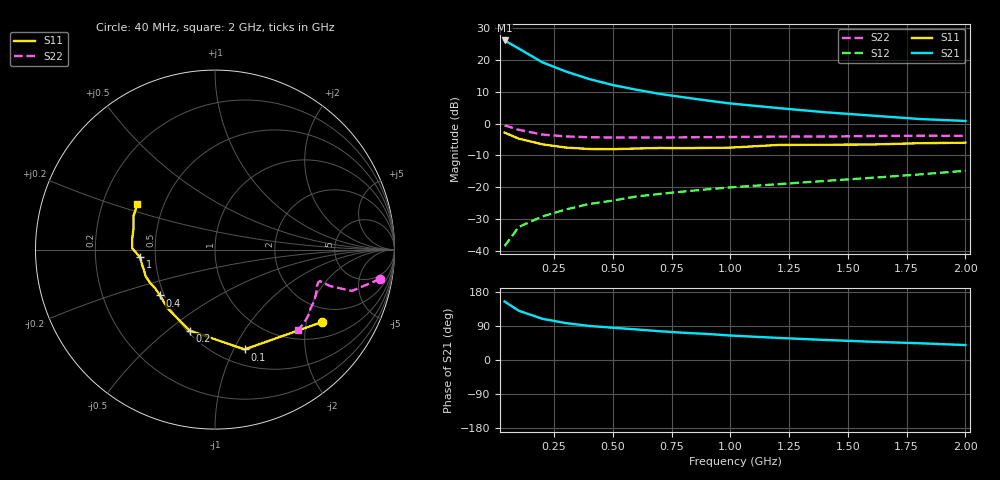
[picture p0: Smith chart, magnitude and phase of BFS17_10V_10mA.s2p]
! Filename:  BFS17H.S2P  Version:  2.0
! Philips part #: BFS17  Date: Jun 1990
! Bias condition: Vce=10V, Ic=10mA
#  MHz  S  MA  R  50
! Freq  S11  S21  S12  S22  !GUM [dB]
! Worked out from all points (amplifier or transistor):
!   16 points, 40 MHz to 2 GHz, reference 50 ohm
!   highest |S21| = 26.0 dB at 40 MHz (marker M1)
!   |S21| within 3 dB of that: start of sweep to 110.9 MHz
!   unconditionally stable (mu >= 1): 458 MHz to 1.695 GHz
!   at 200 MHz: K = 0.71, MSG = 24.2 dB, |S12| = -29.1 dB
!   at 800 MHz: K = 1.09, MAG = 12.9 dB, |S12| = -21.3 dB
!   at 2 GHz: K = 0.89, MSG = 7.8 dB, |S12| = -14.8 dB
!   S11 on the Smith chart (normalised r, x): 40 MHz: 1.48, -2.48; 100 MHz: 0.66, -1.10; 200 MHz: 0.52, -0.60; 400 MHz: 0.47, -0.29; 1 GHz: 0.41, -0.04; 2 GHz: 0.35, +0.24
40  0.72 -34.1  19.99 154.3  0.012 72.4  0.936 -10.0
100  0.58 -73.5  14.93 130.0  0.024 62.0  0.797 -16.8
200  0.473 -107.4  9.11 108.8  0.035 57.7  0.672 -17.6
300  0.42 -129.0  6.532 97.4  0.045 59.2  0.627 -16.9
400  0.399 -140.2  4.97 89.9  0.055 61.4  0.61 -16.7
500  0.397 -146.9  4.007 85.2  0.062 63.4  0.604 -17.5
600  0.406 -152.8  3.386 80.7  0.072 63.9  0.603 -18.4
700  0.414 -158.8  2.909 75.9  0.079 64.0  0.604 -19.9
800  0.412 -164.3  2.577 71.9  0.086 65.8  0.608 -21.0
900  0.415 -168.3  2.295 68.8  0.093 67.1  0.612 -22.5
1000  0.419 -174.2  2.061 64.6  0.1 67.7  0.615 -24.0
1200  0.461 179.2  1.75 58.4  0.112 69.9  0.623 -27.5
1400  0.465 172.5  1.505 53.0  0.126 72.4  0.625 -31.5
1600  0.469 165.6  1.333 48.2  0.141 75.4  0.637 -35.5
1800  0.491 157.6  1.179 44.3  0.159 78.4  0.643 -39.8
2000  0.501 149.6  1.097 39.4  0.182 80.0  0.642 -44.1
